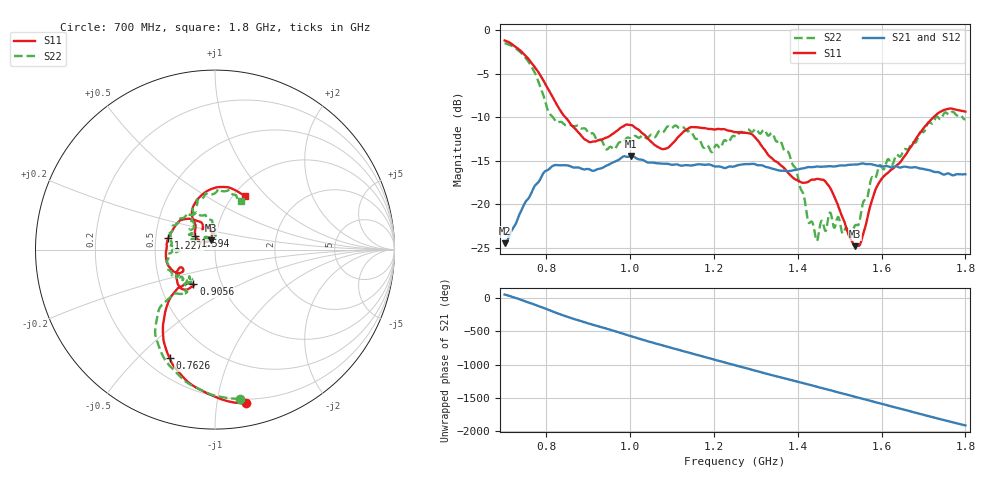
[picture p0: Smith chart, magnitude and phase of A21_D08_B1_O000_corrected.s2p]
! Created with skrf 1.9.0 (http://scikit-rf.org).
# Hz S RI R 50.0
!freq ReS11 ImS11 ReS21 ImS21 ReS12 ImS12 ReS22 ImS22
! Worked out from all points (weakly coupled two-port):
!   1601 points, 700 MHz to 1.8 GHz, reference 50 ohm
!   highest |S21| = -14.46 dB at 1.002 GHz (marker M1); lowest = -24.5 dB at 700.7 MHz (marker M2)
!   lowest |S11| = -24.8 dB at 1.537 GHz (marker M3), VSWR 1.12, Z = 47.3 + j4.91 ohm
!   |S11| at or under -10 dB: 844.9 MHz to 1.724 GHz (879 MHz wide, 68.4 % of centre)
!   |S22| runs from -24.2 to -1.5 dB; largest |S21 - S12| = 0.0037
!   S11 on the Smith chart (normalised r, x): 700 MHz: 0.17, -1.21; 762.6 MHz: 0.29, -0.63; 905.6 MHz: 0.73, -0.30; 1.227 GHz: 0.58, +0.08; 1.594 GHz: 0.79, +0.12; 1.8 GHz: 1.12, +0.76
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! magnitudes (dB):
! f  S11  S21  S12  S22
! 700 MHz  -1.2  -24.5  -24.3  -1.5
! 700.7 MHz  -1.2  -24.5  -24.2  -1.5
! 762.6 MHz  -3.7  -18.8  -18.8  -4.1
! 810 MHz  -7.3  -15.8  -15.7  -9.7
! 883.6 MHz  -12.2  -15.9  -15.8  -11.3
! 905.6 MHz  -12.9  -16.1  -16.0  -11.9
! 944.1 MHz  -12.3  -15.6  -15.6  -13.7
! 1.002 GHz  -10.9  -14.5  -14.6  -12.4
! 1.067 GHz  -13.5  -15.3  -15.3  -11.7
! 1.144 GHz  -11.2  -15.6  -15.6  -11.6
! 1.227 GHz  -11.4  -15.8  -15.8  -12.6
! 1.25 GHz  -11.7  -15.6  -15.6  -12.2
! 1.359 GHz  -15.5  -16.2  -16.1  -12.7
! 1.395 GHz  -17.2  -16.1  -16.1  -15.9
! 1.434 GHz  -17.2  -15.8  -15.7  -22.0
! 1.445 GHz  -17.1  -15.7  -15.7  -24.2
! 1.475 GHz  -18.0  -15.6  -15.7  -21.1
! 1.537 GHz  -24.8  -15.4  -15.5  -22.4
! 1.594 GHz  -17.5  -15.6  -15.6  -15.6
! 1.617 GHz  -16.3  -15.7  -15.7  -14.8
! 1.733 GHz  -9.6  -16.3  -16.3  -9.9
! 1.8 GHz  -9.4  -16.6  -16.6  -10.2
